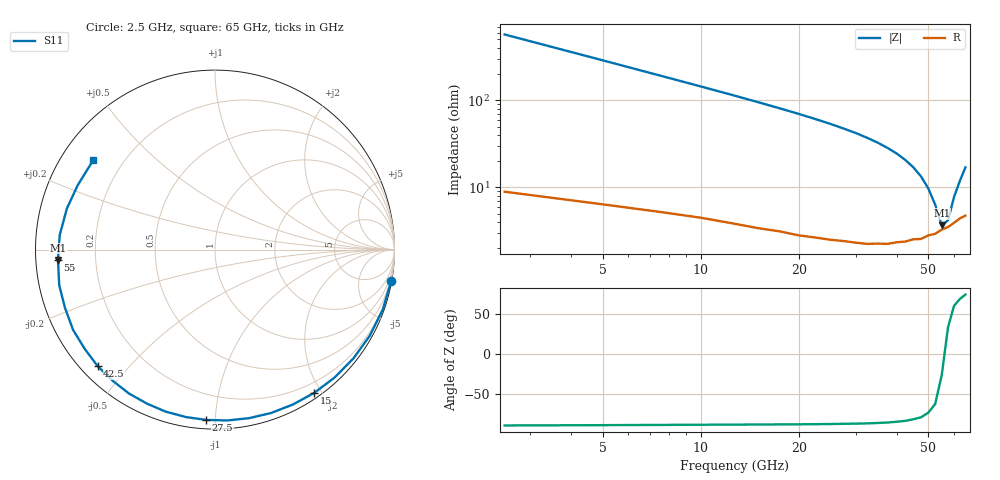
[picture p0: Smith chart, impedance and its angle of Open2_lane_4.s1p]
! File created by SignalIntegrity v1.5.1: Signal and Power Integrity Tools
! https://github.com/Nubis-Communications/SignalIntegrity
# MHz S MA R 50.0
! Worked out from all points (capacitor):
!   26 points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, 2.5 GHz to 65 GHz, reference 50 ohm
!   read as one part to ground: C = 109 fF near 2.5 GHz
!   lowest |Z| = 3.67 ohm at 55 GHz (marker M1)
!   series resonance near 56.03 GHz, so ESL is about 74 pH
!   S11 on the Smith chart (normalised r, x): 2.5 GHz: 0, -11; 15 GHz: 0.07, -1.91; 27.5 GHz: 0.05, -0.95; 42.5 GHz: 0.05, -0.41; 55 GHz: 0.07, -0.03; 65 GHz: 0.10, +0.33
2500  0.9973 -10.0
5000  0.9926 -19.7
7500  0.9869 -29.1
10000  0.981 -38.1
12500  0.9757 -46.9
15000  0.971 -55.3
17500  0.966 -63.3
20000  0.9625 -71.1
22500  0.9581 -78.6
25000  0.9544 -85.8
27500  0.9502 -93.0
30000  0.947 -99.8
32500  0.9436 -106.9
35000  0.9382 -113.8
37500  0.9341 -120.8
40000  0.9268 -127.9
42500  0.9213 -135.2
45000  0.9126 -142.7
47500  0.9085 -150.5
50000  0.8966 -158.8
52500  0.8903 -167.1
55000  0.8768 -176.3
57500  0.8689 174.7
60000  0.8565 164.5
62500  0.8449 154.9
65000  0.8419 143.6
